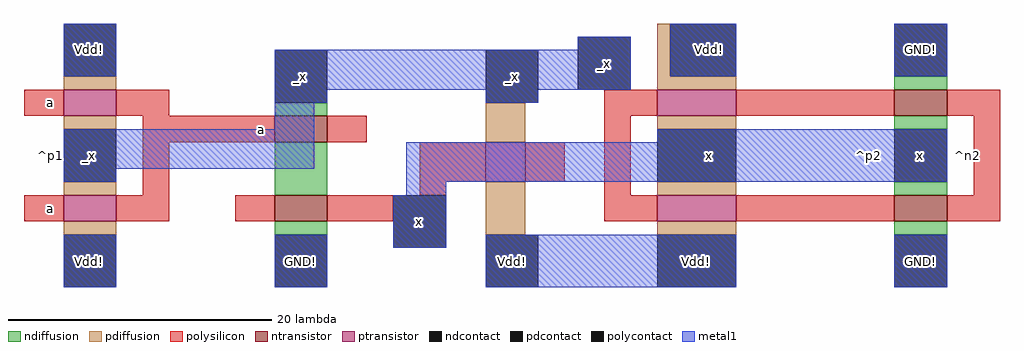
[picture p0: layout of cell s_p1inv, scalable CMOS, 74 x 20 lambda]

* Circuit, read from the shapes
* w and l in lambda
.subckt s_p1inv GND! Vdd! _x a x
M1 n1 x GND! VSUBS nfet w=4 l=2
M2 _x a n1 VSUBS nfet w=4 l=2
M3 x _x GND! VSUBS nfet w=4 l=2 m=2
M4 _x a Vdd! NWELL pfet w=4 l=2 m=2
M5 _x x Vdd! NWELL pfet w=3 l=3
M6 x _x Vdd! NWELL pfet w=6 l=2 m=2
.ends

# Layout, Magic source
magic
tech scmos
<< ndiffusion >>
rect -95 -3 -91 -2
rect -48 -1 -44 0
rect -95 -9 -91 -5
rect -95 -12 -91 -11
rect -48 -4 -44 -3
rect -48 -9 -44 -8
rect -48 -12 -44 -11
<< pdiffusion >>
rect -111 -1 -107 0
rect -66 0 -65 4
rect -66 -1 -60 0
rect -111 -4 -107 -3
rect -111 -9 -107 -8
rect -79 -5 -76 -2
rect -111 -12 -107 -11
rect -79 -12 -76 -8
rect -66 -4 -60 -3
rect -66 -9 -60 -8
rect -66 -12 -60 -11
<< ntransistor >>
rect -95 -5 -91 -3
rect -48 -3 -44 -1
rect -95 -11 -91 -9
rect -48 -11 -44 -9
<< ptransistor >>
rect -111 -3 -107 -1
rect -66 -3 -60 -1
rect -79 -8 -76 -5
rect -111 -11 -107 -9
rect -66 -11 -60 -9
<< polysilicon >>
rect -114 -3 -111 -1
rect -107 -3 -103 -1
rect -105 -5 -95 -3
rect -91 -5 -88 -3
rect -70 -3 -66 -1
rect -60 -3 -48 -1
rect -44 -3 -40 -1
rect -105 -9 -103 -5
rect -84 -8 -79 -5
rect -76 -8 -73 -5
rect -84 -9 -82 -8
rect -114 -11 -111 -9
rect -107 -11 -103 -9
rect -98 -11 -95 -9
rect -91 -11 -86 -9
rect -70 -9 -68 -3
rect -42 -9 -40 -3
rect -70 -11 -66 -9
rect -60 -11 -48 -9
rect -44 -11 -40 -9
<< ndcontact >>
rect -95 -2 -91 2
rect -48 0 -44 4
rect -95 -16 -91 -12
rect -48 -8 -44 -4
rect -48 -16 -44 -12
<< pdcontact >>
rect -111 0 -107 4
rect -79 -2 -75 2
rect -65 0 -60 4
rect -111 -8 -107 -4
rect -111 -16 -107 -12
rect -66 -8 -60 -4
rect -79 -16 -75 -12
rect -66 -16 -60 -12
<< polycontact >>
rect -72 -1 -68 3
rect -86 -13 -82 -9
<< metal1 >>
rect -111 0 -107 4
rect -72 2 -68 3
rect -95 -1 -68 2
rect -65 0 -60 4
rect -48 0 -44 4
rect -95 -2 -91 -1
rect -79 -2 -75 -1
rect -95 -4 -92 -2
rect -111 -7 -92 -4
rect -66 -5 -44 -4
rect -111 -8 -107 -7
rect -85 -8 -44 -5
rect -85 -9 -82 -8
rect -111 -16 -107 -12
rect -95 -16 -91 -12
rect -86 -13 -82 -9
rect -79 -16 -60 -12
rect -48 -16 -44 -12
<< labels >>
rlabel space -45 -17 -40 5 3 ^n2
rlabel space -61 -18 -39 6 3 ^p2
rlabel polysilicon -112 -2 -112 -2 3 a
rlabel polysilicon -112 -10 -112 -10 3 a
rlabel space -114 -17 -110 5 7 ^p1
rlabel polysilicon -96 -4 -96 -4 5 a
rlabel pdcontact -77 0 -77 0 6 _x
rlabel polycontact -70 1 -70 1 5 _x
rlabel pdcontact -63 -14 -63 -14 1 Vdd!
rlabel ndcontact -46 -14 -46 -14 1 GND!
rlabel ndcontact -46 2 -46 2 5 GND!
rlabel pdcontact -62 -6 -62 -6 1 x
rlabel ndcontact -46 -6 -46 -6 1 x
rlabel pdcontact -62 2 -62 2 5 Vdd!
rlabel pdcontact -109 -6 -109 -6 1 _x
rlabel ndcontact -93 0 -93 0 5 _x
rlabel pdcontact -109 2 -109 2 5 Vdd!
rlabel ndcontact -93 -14 -93 -14 1 GND!
rlabel pdcontact -109 -14 -109 -14 1 Vdd!
rlabel polycontact -84 -11 -84 -11 1 x
rlabel metal1 -77 -14 -77 -14 1 Vdd!
<< end >>
